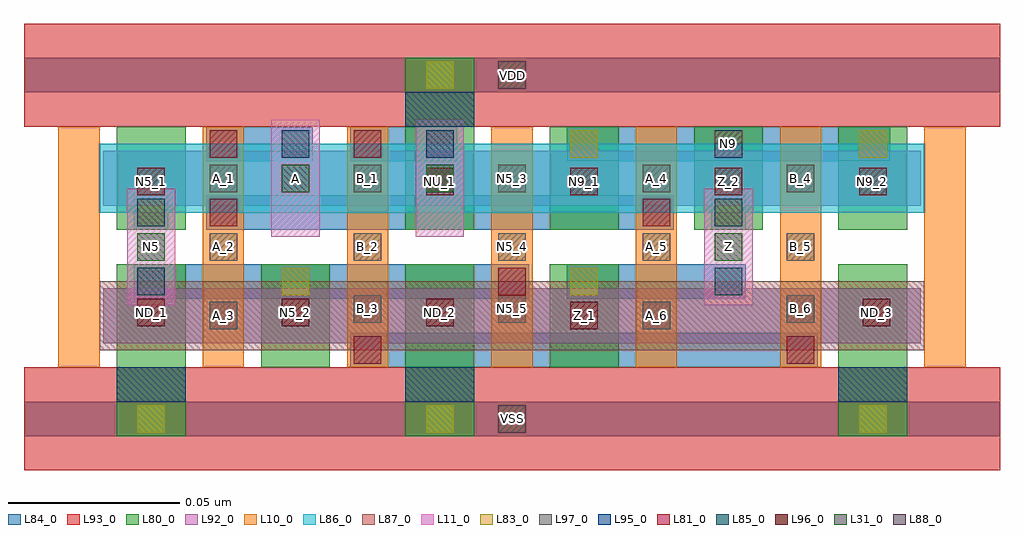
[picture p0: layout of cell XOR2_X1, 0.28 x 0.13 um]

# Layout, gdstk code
import gdstk
lib = gdstk.Library(unit=1e-6, precision=1e-09)
def R(c, l, rs):  # rectangles x0, y0, x1, y1
    for r in rs: c.add(gdstk.rectangle(r[:2], r[2:], *l))
def A(c, l, x, y, w, h, nx, ny, dx, dy):  # array of equal rectangles
    R(c, l, [(x+i*dx, y+j*dy, x+i*dx+w, y+j*dy+h) for i in range(nx) for j in range(ny)])
L10_0 = (10, 0)
L11_0 = (11, 0)
L31_0 = (31, 0)
L80_0 = (80, 0)
L81_0 = (81, 0)
L83_0 = (83, 0)
L84_0 = (84, 0)
L85_0 = (85, 0)
L86_0 = (86, 0)
L87_0 = (87, 0)
L88_0 = (88, 0)
L92_0 = (92, 0)
L93_0 = (93, 0)
L95_0 = (95, 0)
L96_0 = (96, 0)
L97_0 = (97, 0)

xor2_x1 = lib.new_cell('XOR2_X1')
A(xor2_x1, L10_0, -0.027, 0.015, 0.012, 0.07, 7, 1, 0.042, 0)
R(xor2_x1, L11_0, [(-0.007,0.033,0.007,0.067), (-0.007,0.033,0.007,0.067), (0.161,0.033,0.175,0.067), (0.161,0.033,0.175,0.067), (0.035,0.053,0.049,0.087), (0.077,0.053,0.091,0.087)])
R(xor2_x1, L31_0, [(-0.004,0.046,0.004,0.054), (0.164,0.046,0.172,0.054), (0.038,0.066,0.046,0.074), (0.08,0.066,0.088,0.074)])
A(xor2_x1, L80_0, -0.01, 0.015, 0.02, 0.03, 4, 1, 0.042, 0)
A(xor2_x1, L80_0, 0.074, 0.055, 0.02, 0.03, 4, 1, 0.042, 0)
R(xor2_x1, L80_0, [(-0.01,-0.005,0.01,0.025), (0.074,-0.005,0.094,0.025), (0.2,-0.005,0.22,0.025), (0.2,0.015,0.22,0.045), (-0.01,0.055,0.01,0.085), (0.074,0.075,0.094,0.105)])
R(xor2_x1, L81_0, [(0.059,0.016,0.067,0.024), (0.059,0.016,0.067,0.024), (0.185,0.016,0.193,0.024), (0.185,0.016,0.193,0.024), (0.101,0.036,0.109,0.044), (0.101,0.036,0.109,0.044), (0.017,0.056,0.025,0.064), (0.017,0.056,0.025,0.064), (0.143,0.056,0.151,0.064), (0.143,0.056,0.151,0.064), (0.017,0.076,0.025,0.084), (0.059,0.076,0.067,0.084)])
R(xor2_x1, L83_0, [(-0.004,-0.004,0.004,0.004), (0.08,-0.004,0.088,0.004), (0.206,-0.004,0.214,0.004), (0.038,0.036,0.046,0.044), (0.038,0.036,0.046,0.044), (0.122,0.036,0.13,0.044), (0.122,0.036,0.13,0.044), (-0.004,0.056,0.004,0.064), (-0.004,0.056,0.004,0.064), (0.164,0.056,0.172,0.064), (0.164,0.056,0.172,0.064), (0.122,0.076,0.13,0.084), (0.122,0.076,0.13,0.084), (0.206,0.076,0.214,0.084), (0.206,0.076,0.214,0.084), (0.08,0.096,0.088,0.104)])
R(xor2_x1, L84_0, [(-0.037,-0.005,0.247,0.005), (0.058,0.015,0.089,0.025), (0.058,0.015,0.089,0.025), (0.079,0.015,0.11,0.025), (0.079,0.015,0.11,0.025), (0.1,0.015,0.131,0.025), (0.1,0.015,0.131,0.025), (0.121,0.015,0.152,0.025), (0.121,0.015,0.152,0.025), (0.142,0.015,0.173,0.025), (0.142,0.015,0.173,0.025), (0.163,0.015,0.194,0.025), (0.163,0.015,0.194,0.025), (-0.005,0.035,0.026,0.045), (-0.005,0.035,0.026,0.045), (0.016,0.035,0.047,0.045), (0.016,0.035,0.047,0.045), (0.037,0.035,0.068,0.045), (0.037,0.035,0.068,0.045), (0.058,0.035,0.089,0.045), (0.058,0.035,0.089,0.045), (0.079,0.035,0.11,0.045), (0.079,0.035,0.11,0.045), (0.121,0.035,0.152,0.045), (0.121,0.035,0.152,0.045), (0.142,0.035,0.173,0.045), (0.142,0.035,0.173,0.045), (-0.005,0.055,0.005,0.065), (-0.005,0.055,0.005,0.065), (0.016,0.055,0.047,0.065), (0.016,0.055,0.047,0.065), (0.037,0.055,0.068,0.065), (0.037,0.055,0.068,0.065), (0.058,0.055,0.089,0.065), (0.058,0.055,0.089,0.065), (0.079,0.055,0.11,0.065), (0.079,0.055,0.11,0.065), (0.1,0.055,0.131,0.065), (0.1,0.055,0.131,0.065), (0.121,0.055,0.152,0.065), (0.121,0.055,0.152,0.065), (0.163,0.055,0.173,0.065), (0.163,0.055,0.173,0.065), (0.016,0.075,0.047,0.085), (0.058,0.075,0.089,0.085), (0.121,0.075,0.152,0.085), (0.121,0.075,0.152,0.085), (0.142,0.075,0.173,0.085), (0.142,0.075,0.173,0.085), (0.163,0.075,0.194,0.085), (0.163,0.075,0.194,0.085), (0.184,0.075,0.215,0.085), (0.184,0.075,0.215,0.085), (-0.037,0.095,0.247,0.105)])
R(xor2_x1, L85_0, [(-0.004,0.036,0.004,0.044), (-0.004,0.036,0.004,0.044), (0.164,0.036,0.172,0.044), (0.164,0.036,0.172,0.044), (-0.004,0.056,0.004,0.064), (-0.004,0.056,0.004,0.064), (0.164,0.056,0.172,0.064), (0.164,0.056,0.172,0.064), (0.038,0.076,0.046,0.084), (0.08,0.076,0.088,0.084)])
R(xor2_x1, L86_0, [(-0.015,0.06,0.225,0.08)])
R(xor2_x1, L87_0, [(-0.015,0.02,0.225,0.04)])
R(xor2_x1, L88_0, [(0.101,-0.004,0.109,0.004), (0.164,0.076,0.172,0.084), (0.101,0.096,0.109,0.104)])
R(xor2_x1, L92_0, [(-0.014,0.022,0.224,0.038), (-0.014,0.062,0.224,0.078)])
R(xor2_x1, L93_0, [(-0.037,-0.015,0.247,0.015), (-0.037,0.085,0.247,0.115)])
R(xor2_x1, L95_0, [(-0.01,0.005,0.01,0.015), (0.074,0.005,0.094,0.015), (0.2,0.005,0.22,0.015), (0.074,0.085,0.094,0.095)])
A(xor2_x1, L96_0, -0.004, 0.027, 0.008, 0.008, 3, 1, 0.042, 0)
A(xor2_x1, L96_0, 0.08, 0.065, 0.008, 0.008, 4, 1, 0.042, 0)
R(xor2_x1, L96_0, [(0.122,0.026,0.13,0.034), (0.207,0.027,0.215,0.035), (-0.004,0.065,0.004,0.073)])
A(xor2_x1, L97_0, 0.017, 0.046, 0.008, 0.008, 5, 2, 0.042, 0.02)
R(xor2_x1, L97_0, [(0.017,0.026,0.025,0.034), (0.143,0.026,0.151,0.034), (0.059,0.028,0.067,0.036), (0.101,0.028,0.109,0.036), (0.185,0.028,0.193,0.036)])
xor2_x1.add(gdstk.Label('A_3', (0.021,0.03), layer=97, texttype=0))
xor2_x1.add(gdstk.Label('A_2', (0.021,0.05), layer=97, texttype=0))
xor2_x1.add(gdstk.Label('A_1', (0.021,0.07), layer=97, texttype=0))
xor2_x1.add(gdstk.Label('A_6', (0.147,0.03), layer=97, texttype=0))
xor2_x1.add(gdstk.Label('A_5', (0.147,0.05), layer=97, texttype=0))
xor2_x1.add(gdstk.Label('A_4', (0.147,0.07), layer=97, texttype=0))
xor2_x1.add(gdstk.Label('B_6', (0.189,0.032), layer=97, texttype=0))
xor2_x1.add(gdstk.Label('B_5', (0.189,0.05), layer=97, texttype=0))
xor2_x1.add(gdstk.Label('B_4', (0.189,0.07), layer=97, texttype=0))
xor2_x1.add(gdstk.Label('B_3', (0.063,0.032), layer=97, texttype=0))
xor2_x1.add(gdstk.Label('B_2', (0.063,0.05), layer=97, texttype=0))
xor2_x1.add(gdstk.Label('B_1', (0.063,0.07), layer=97, texttype=0))
xor2_x1.add(gdstk.Label('N5_5', (0.105,0.032), layer=97, texttype=0))
xor2_x1.add(gdstk.Label('N5_4', (0.105,0.05), layer=97, texttype=0))
xor2_x1.add(gdstk.Label('N5_3', (0.105,0.07), layer=97, texttype=0))
xor2_x1.add(gdstk.Label('ND_2', (0.084,0.031), layer=96, texttype=0))
xor2_x1.add(gdstk.Label('NU_1', (0.084,0.069), layer=96, texttype=0))
xor2_x1.add(gdstk.Label('ND_1', (0,0.031), layer=96, texttype=0))
xor2_x1.add(gdstk.Label('N5_1', (0,0.069), layer=96, texttype=0))
xor2_x1.add(gdstk.Label('N5_2', (0.042,0.031), layer=96, texttype=0))
xor2_x1.add(gdstk.Label('N9_1', (0.126,0.069), layer=96, texttype=0))
xor2_x1.add(gdstk.Label('N9_2', (0.21,0.069), layer=96, texttype=0))
xor2_x1.add(gdstk.Label('Z_1', (0.126,0.03), layer=96, texttype=0))
xor2_x1.add(gdstk.Label('Z_2', (0.168,0.069), layer=96, texttype=0))
xor2_x1.add(gdstk.Label('ND_3', (0.211,0.031), layer=96, texttype=0))
xor2_x1.add(gdstk.Label('N9', (0.168,0.08), layer=88, texttype=0))
xor2_x1.add(gdstk.Label('VSS', (0.105,0), layer=88, texttype=0))
xor2_x1.add(gdstk.Label('VDD', (0.105,0.1), layer=88, texttype=0))
xor2_x1.add(gdstk.Label('A', (0.042,0.07), layer=31, texttype=0))
xor2_x1.add(gdstk.Label('B', (0.084,0.07), layer=31, texttype=0))
xor2_x1.add(gdstk.Label('N5', (0,0.05), layer=31, texttype=0))
xor2_x1.add(gdstk.Label('Z', (0.168,0.05), layer=31, texttype=0))

lib.write_gds('XOR2_X1.gds')
